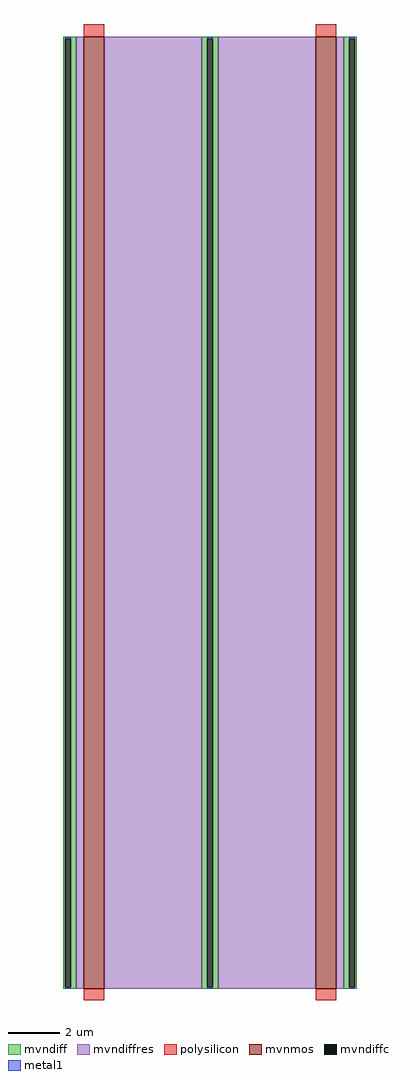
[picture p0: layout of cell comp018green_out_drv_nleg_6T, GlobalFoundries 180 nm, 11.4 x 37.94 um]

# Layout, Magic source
magic
tech gf180mcuD
magscale 1 10
<< mvnmos >>
rect 206 132 366 7532
rect 2010 132 2170 7532
<< mvndiff >>
rect 48 7519 150 7532
rect 48 145 61 7519
rect 107 145 150 7519
rect 48 132 150 145
rect 1122 7519 1254 7532
rect 1122 145 1165 7519
rect 1211 145 1254 7519
rect 1122 132 1254 145
rect 2226 7519 2328 7532
rect 2226 145 2269 7519
rect 2315 145 2328 7519
rect 2226 132 2328 145
<< mvndiffc >>
rect 61 145 107 7519
rect 1165 145 1211 7519
rect 2269 145 2315 7519
<< polysilicon >>
rect 206 7532 366 7632
rect 2010 7532 2170 7632
rect 206 44 366 132
rect 2010 44 2170 132
<< mvndiffres >>
rect 150 132 206 7532
rect 366 132 1122 7532
rect 1254 132 2010 7532
rect 2170 132 2226 7532
<< metal1 >>
rect 61 7519 107 7532
rect 61 132 107 145
rect 1165 7519 1211 7532
rect 1165 132 1211 145
rect 2269 7519 2315 7532
rect 2269 132 2315 145
<< properties >>
string GDS_END 2343748
string GDS_FILE $PDKPATH/libs.ref/gf180mcu_fd_io/gds/gf180mcu_fd_io.gds
string GDS_START 2321408
<< end >>
